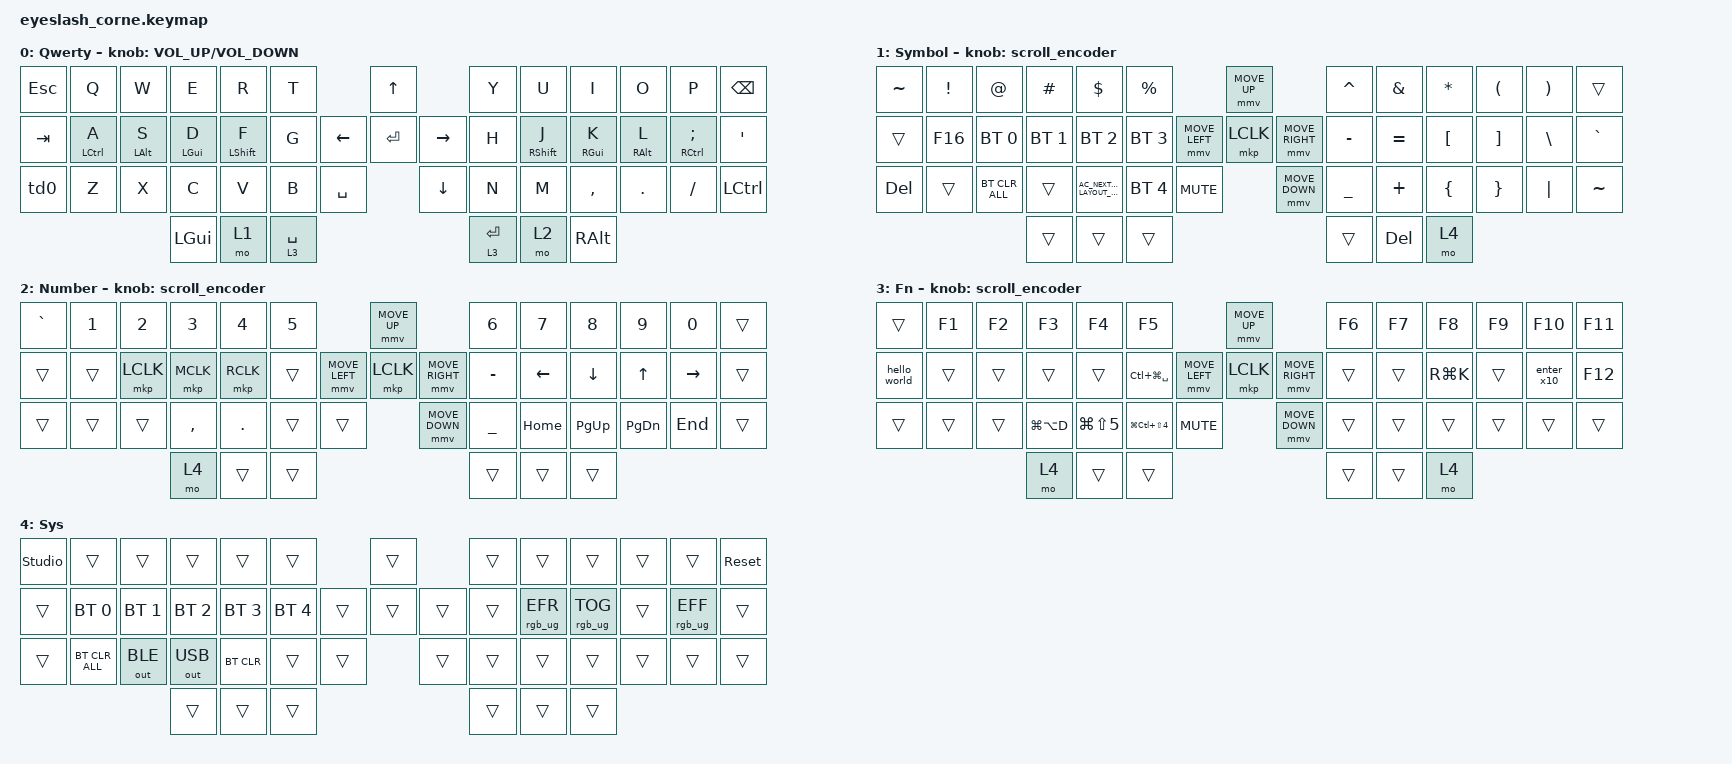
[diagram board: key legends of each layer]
#define ZMK_POINTING_DEFAULT_MOVE_VAL 1200  // 600
#define ZMK_POINTING_DEFAULT_SCRL_VAL 25   // 10

#include <input/processors.dtsi>
#include <zephyr/dt-bindings/input/input-event-codes.h>
#include <behaviors.dtsi>
#include <dt-bindings/zmk/bt.h>
#include <dt-bindings/zmk/keys.h>
#include <dt-bindings/zmk/outputs.h>
#include <dt-bindings/zmk/pointing.h>
#include <dt-bindings/zmk/rgb.h>

&mmv_input_listener { input-processors = <&zip_xy_scaler 2 1>; };

&msc_input_listener { input-processors = <&zip_scroll_scaler 2 1>; };

&msc {
    acceleration-exponent = <1>;      // 0
    time-to-max-speed-ms = <100>;       // 300
    delay-ms = <0>;                   // 0
};

&mmv {
    time-to-max-speed-ms = <500>;
    acceleration-exponent = <1>;
    trigger-period-ms = <16>;
};

/ {
    behaviors {
        td0: td0 {
            compatible = "zmk,behavior-tap-dance";
            display-name = "Shift/Caps Lock Tap Dance";
            #binding-cells = <0>;
            bindings = <&kp LEFT_SHIFT>, <&kp CAPS>;
        };

        HML: HML {
            compatible = "zmk,behavior-hold-tap";
            label = "HML";
            bindings = <&kp>, <&kp>;

            #binding-cells = <2>;
            tapping-term-ms = <280>;
            quick-tap-ms = <175>;
            flavor = "balanced";
            hold-trigger-on-release;
            hold-trigger-key-positions = <6 7 8 9 10 11 12 19 20 21 22 23 24 25 26 27 35 36 37 38 39 40 41 45 46 47 42 43 44 34>;
        };

        HMR: HMR {
            compatible = "zmk,behavior-hold-tap";
            label = "HMR";
            bindings = <&kp>, <&kp>;

            #binding-cells = <2>;
            tapping-term-ms = <280>;
            quick-tap-ms = <175>;
            flavor = "balanced";
            hold-trigger-key-positions = <0 1 2 3 4 5 6 13 14 15 16 17 18 19 20 21 28 29 30 31 32 33 34 35 42 43 44 45 45 46 47>;
            hold-trigger-on-release;
        };
    };

    rgb_encoder: rgb_encoder {
        compatible = "zmk,behavior-sensor-rotate";
        #sensor-binding-cells = <0>;
        bindings = <&rgb_ug RGB_BRI>, <&rgb_ug RGB_BRD>;
    };

    scroll_encoder: scroll_encoder {
        compatible = "zmk,behavior-sensor-rotate";
        #sensor-binding-cells = <0>;
        bindings = <&msc SCRL_DOWN>, <&msc SCRL_UP>;

        tap-ms = <100>;
    };

    macros {
        hello_world: hello_world {
            compatible = "zmk,behavior-macro";
            #binding-cells = <0>;
            bindings = <&none &kp H &kp E &kp L &kp L &kp O &kp COMMA &kp SPACE &kp W &kp O &kp R &kp L &kp D &kp EXCL &kp EXCL &kp EXCL &kp RET &kp T &kp H &kp I &kp S &kp SPACE &kp I &kp S &kp SPACE &kp C &kp O &kp R &kp N &kp E &kp ENTER>;
            label = "HELLO_WORLD";
            wait-ms = <1>;
            tap-ms = <1>;
        };

        enter_x10: enter_x10 {
            compatible = "zmk,behavior-macro";
            #binding-cells = <0>;
            bindings = <&kp ENTER &kp RET &kp RET &kp RET &kp RET &kp RET &kp RET &kp RET &kp RET &kp RET>;
            label = "ENTER_X10";
        };
    };

    keymap {
        compatible = "zmk,keymap";

        default_layer {
            display-name = "Qwerty";
            bindings = <
&kp ESC  &kp Q                &kp W            &kp E            &kp R              &kp T                               &kp UP                &kp Y        &kp U               &kp I             &kp O             &kp P                    &kp BSPC
&kp TAB  &HML LEFT_CONTROL A  &HML LEFT_ALT S  &HML LEFT_GUI D  &HML LEFT_SHIFT F  &kp G                     &kp LEFT  &kp ENTER  &kp RIGHT  &kp H        &HMR RIGHT_SHIFT J  &HMR RIGHT_GUI K  &HMR RIGHT_ALT L  &HMR RIGHT_CONTROL SEMI  &kp SQT
&td0     &kp Z                &kp X            &kp C            &kp V              &kp B        &kp SPACE              &kp DOWN              &kp N        &kp M               &kp COMMA         &kp DOT           &kp FSLH                 &kp LCTRL
                                               &kp LGUI         &mo 1              &lt 3 SPACE                                               &lt 3 ENTER  &mo 2               &kp RALT
            >;

            sensor-bindings = <&inc_dec_kp C_VOLUME_UP C_VOLUME_DOWN>;
        };

        lower_layer {
            display-name = "Symbol";
            bindings = <
&kp TILDE  &kp EXCLAMATION  &kp AT_SIGN     &kp POUND     &kp DOLLAR                            &kp PERCENT                                 &mmv MOVE_UP                     &kp CARET       &kp AMPERSAND  &kp ASTERISK      &kp LEFT_PARENTHESIS  &kp RIGHT_PARENTHESIS  &trans
&trans     &kp F16          &bt BT_SEL 0    &bt BT_SEL 1  &bt BT_SEL 2                          &bt BT_SEL 3                &mmv MOVE_LEFT  &mkp LCLK       &mmv MOVE_RIGHT  &kp MINUS       &kp EQUAL      &kp LEFT_BRACKET  &kp RIGHT_BRACKET     &kp BACKSLASH          &kp GRAVE
&kp DEL    &trans           &bt BT_CLR_ALL  &trans        &kp C_AC_NEXT_KEYBOARD_LAYOUT_SELECT  &bt BT_SEL 4  &kp C_MUTE                    &mmv MOVE_DOWN                   &kp UNDERSCORE  &kp PLUS       &kp LEFT_BRACE    &kp RIGHT_BRACE       &kp PIPE               &kp TILDE
                                            &trans        &trans                                &trans                                                                       &trans          &kp DEL        &mo 4
            >;

            sensor-bindings = <&scroll_encoder>;
        };

        raise_layer {
            display-name = "Number";
            bindings = <
&kp GRAVE  &kp N1  &kp N2     &kp N3     &kp N4     &kp N5                            &mmv MOVE_UP                     &kp N6          &kp N7    &kp N8          &kp N9         &kp N0           &trans
&trans     &trans  &mkp LCLK  &mkp MCLK  &mkp RCLK  &trans            &mmv MOVE_LEFT  &mkp LCLK       &mmv MOVE_RIGHT  &kp MINUS       &kp LEFT  &kp DOWN_ARROW  &kp UP_ARROW   &kp RIGHT_ARROW  &trans
&trans     &trans  &trans     &kp COMMA  &kp DOT    &trans  &trans                    &mmv MOVE_DOWN                   &kp UNDERSCORE  &kp HOME  &kp PAGE_UP     &kp PAGE_DOWN  &kp END          &trans
                              &mo 4      &trans     &trans                                                             &trans          &trans    &trans
            >;

            sensor-bindings = <&scroll_encoder>;
        };

        layer_3 {
            display-name = "Fn";
            bindings = <
&trans        &kp F1  &kp F2  &kp F3         &kp F4          &kp F5                                            &mmv MOVE_UP                     &kp F6  &kp F7  &kp F8     &kp F9  &kp F10     &kp F11
&hello_world  &trans  &trans  &trans         &trans          &kp LC(LG(SPACE))                 &mmv MOVE_LEFT  &mkp LCLK       &mmv MOVE_RIGHT  &trans  &trans  &kp RG(K)  &trans  &enter_x10  &kp F12
&trans        &trans  &trans  &kp LG(LA(D))  &kp LG(LS(N5))  &kp LG(LC(LS(N4)))  &kp C_MUTE                    &mmv MOVE_DOWN                   &trans  &trans  &trans     &trans  &trans      &trans
                              &mo 4          &trans          &trans                                                                             &trans  &trans  &mo 4
            >;

            sensor-bindings = <&scroll_encoder>;
        };

        layer_4 {
            bindings = <
&studio_unlock  &trans          &trans        &trans        &trans        &trans                          &trans          &trans  &trans           &trans           &trans  &trans           &sys_reset
&trans          &bt BT_SEL 0    &bt BT_SEL 1  &bt BT_SEL 2  &bt BT_SEL 3  &bt BT_SEL 4            &trans  &trans  &trans  &trans  &rgb_ug RGB_EFR  &rgb_ug RGB_TOG  &trans  &rgb_ug RGB_EFF  &trans
&trans          &bt BT_CLR_ALL  &out OUT_BLE  &out OUT_USB  &bt BT_CLR    &trans        &trans            &trans          &trans  &trans           &trans           &trans  &trans           &trans
                                              &trans        &trans        &trans                                          &trans  &trans           &trans
            >;

            label = "Sys";
        };
    };
};
